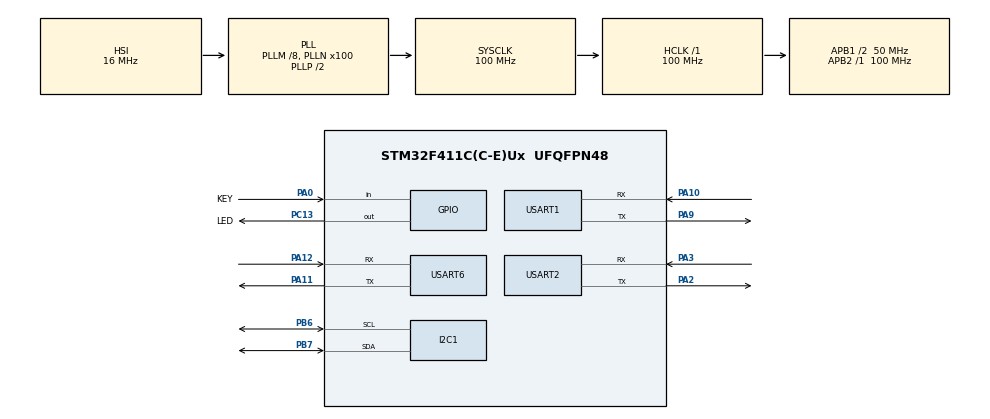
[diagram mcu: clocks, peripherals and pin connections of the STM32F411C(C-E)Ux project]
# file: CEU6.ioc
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Dma.Request0=USART2_RX
Dma.Request1=USART1_RX
Dma.Request2=USART6_RX
Dma.USART1_RX.1.Direction=DMA_PERIPH_TO_MEMORY
Dma.USART1_RX.1.FIFOMode=DMA_FIFOMODE_DISABLE
Dma.USART1_RX.1.Instance=DMA2_Stream2
Dma.USART1_RX.1.MemDataAlignment=DMA_MDATAALIGN_BYTE
Dma.USART1_RX.1.MemInc=DMA_MINC_ENABLE
Dma.USART1_RX.1.Mode=DMA_NORMAL
Dma.USART1_RX.1.PeriphDataAlignment=DMA_PDATAALIGN_BYTE
Dma.USART1_RX.1.PeriphInc=DMA_PINC_DISABLE
Dma.USART1_RX.1.Priority=DMA_PRIORITY_LOW
Dma.USART2_RX.0.Direction=DMA_PERIPH_TO_MEMORY
Dma.USART2_RX.0.FIFOMode=DMA_FIFOMODE_DISABLE
Dma.USART2_RX.0.Instance=DMA1_Stream5
Dma.USART2_RX.0.MemDataAlignment=DMA_MDATAALIGN_BYTE
Dma.USART2_RX.0.MemInc=DMA_MINC_ENABLE
Dma.USART2_RX.0.Mode=DMA_CIRCULAR
Dma.USART2_RX.0.PeriphDataAlignment=DMA_PDATAALIGN_BYTE
Dma.USART2_RX.0.PeriphInc=DMA_PINC_DISABLE
Dma.USART2_RX.0.Priority=DMA_PRIORITY_LOW
Dma.USART6_RX.2.Direction=DMA_PERIPH_TO_MEMORY
Dma.USART6_RX.2.FIFOMode=DMA_FIFOMODE_DISABLE
Dma.USART6_RX.2.Instance=DMA2_Stream1
Dma.USART6_RX.2.MemDataAlignment=DMA_MDATAALIGN_BYTE
Dma.USART6_RX.2.MemInc=DMA_MINC_ENABLE
Dma.USART6_RX.2.Mode=DMA_CIRCULAR
Dma.USART6_RX.2.PeriphDataAlignment=DMA_PDATAALIGN_BYTE
Dma.USART6_RX.2.PeriphInc=DMA_PINC_DISABLE
Dma.USART6_RX.2.Priority=DMA_PRIORITY_LOW
Mcu.Family=STM32F4
Mcu.Name=STM32F411C(C-E)Ux
Mcu.Package=UFQFPN48
NVIC.DMA1_Stream5_IRQn=true\:0\:0\:false\:false\:true\:false\:true
NVIC.DMA2_Stream1_IRQn=true\:0\:0\:false\:false\:true\:false\:true
NVIC.DMA2_Stream2_IRQn=true\:0\:0\:false\:false\:true\:false\:true
NVIC.PriorityGroup=NVIC_PRIORITYGROUP_4
NVIC.USART1_IRQn=true\:1\:0\:true\:false\:true\:true\:true
NVIC.USART2_IRQn=true\:1\:0\:true\:false\:true\:true\:true
NVIC.USART6_IRQn=true\:0\:0\:false\:false\:true\:true\:true
PA0-WKUP.GPIO_Label=KEY
PA0-WKUP.GPIO_PuPd=GPIO_PULLUP
PA0-WKUP.Signal=GPIO_Input
PA10.GPIO_PuPd=GPIO_PULLUP
PA10.Mode=Asynchronous
PA10.Signal=USART1_RX
PA11.Mode=Asynchronous
PA11.Signal=USART6_TX
PA12.GPIO_PuPd=GPIO_PULLUP
PA12.Mode=Asynchronous
PA12.Signal=USART6_RX
PA13.Mode=Serial_Wire
PA13.Signal=SYS_JTMS-SWDIO
PA14.Mode=Serial_Wire
PA14.Signal=SYS_JTCK-SWCLK
PA2.Mode=Asynchronous
PA2.Signal=USART2_TX
PA3.GPIO_PuPd=GPIO_PULLUP
PA3.Mode=Asynchronous
PA3.Signal=USART2_RX
PA9.Mode=Asynchronous
PA9.Signal=USART1_TX
PB6.Mode=I2C
PB6.Signal=I2C1_SCL
PB7.Mode=I2C
PB7.Signal=I2C1_SDA
PC13-ANTI_TAMP.GPIO_Label=LED
PC13-ANTI_TAMP.GPIO_PuPd=GPIO_PULLUP
PC13-ANTI_TAMP.PinState=GPIO_PIN_SET
PC13-ANTI_TAMP.Signal=GPIO_Output
PC14-OSC32_IN.Mode=LSE-External-Oscillator
PC14-OSC32_IN.Signal=RCC_OSC32_IN
PC15-OSC32_OUT.Mode=LSE-External-Oscillator
PC15-OSC32_OUT.Signal=RCC_OSC32_OUT
PH0\ -\ OSC_IN.Mode=HSE-External-Oscillator
PH0\ -\ OSC_IN.Signal=RCC_OSC_IN
PH1\ -\ OSC_OUT.Mode=HSE-External-Oscillator
PH1\ -\ OSC_OUT.Signal=RCC_OSC_OUT
ProjectManager.HeapSize=0x200
ProjectManager.StackSize=0x400
ProjectManager.TargetToolchain=MDK-ARM V5.32
RCC.48MHZClocksFreq_Value=50000000
RCC.AHBFreq_Value=100000000
RCC.APB1CLKDivider=RCC_HCLK_DIV2
RCC.APB1Freq_Value=50000000
RCC.APB1TimFreq_Value=100000000
RCC.APB2Freq_Value=100000000
RCC.APB2TimFreq_Value=100000000
RCC.CortexFreq_Value=100000000
RCC.HCLKFreq_Value=100000000
RCC.HSE_VALUE=25000000
RCC.HSI_VALUE=16000000
RCC.PLLM=8
RCC.PLLN=100
RCC.SYSCLKFreq_VALUE=100000000
RCC.SYSCLKSource=RCC_SYSCLKSOURCE_PLLCLK
RCC.VCOOutputFreq_Value=200000000
USART1.VirtualMode=VM_ASYNC
USART2.VirtualMode=VM_ASYNC
USART6.VirtualMode=VM_ASYNC
board=custom

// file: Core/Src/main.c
/* USER CODE BEGIN Header */
/**
  ******************************************************************************
  * @file           : main.c
  * @brief          : Main program body
  ******************************************************************************
  * @attention
  *
  * Copyright (c) 2022 STMicroelectronics.
  * All rights reserved.
  *
  * This software is licensed under terms that can be found in the LICENSE file
  * in the root directory of this software component.
  * If no LICENSE file comes with this software, it is provided AS-IS.
  *
  ******************************************************************************
  */
/* USER CODE END Header */
#include "main.h"
#include "dma.h"
#include "i2c.h"
#include "usart.h"
#include "gpio.h"

/* USER CODE BEGIN Includes */
#include "sys.h"
#include "oled.h"
#include "esp01s.h"
#include "jansson.h"
/* USER CODE END Includes */

/* USER CODE BEGIN PV */
extern uint8_t usart1_rx_flag;          //接收中断标志位
extern uint8_t usart2_rx_flag;          //接收中断标志位
extern uint8_t usart6_rx_flag;          //接收中断标志位

extern uint8_t tx2_buff[255];
extern uint8_t tx6_buff[255];

extern uint8_t rx1_buff[255];
extern uint8_t rx2_buff[255];
extern uint8_t rx6_buff[255];

//json解析与数据
json_error_t error;
json_t *root;
char *result;
uint16_t temp[2] = {0,0},humi[2] = {0,0},lux[2] = {0,0};
uint16_t tempv = 60,humiv = 60,luxv = 100;
/* USER CODE END PV */

void SystemClock_Config(void);

int main(void)
{
  /* USER CODE BEGIN 1 */
	uint16_t index = 0;
	char data[128];
	uint8_t mode = 0,nc1 = 0,nc2 = 0,nc3 = 0;
  /* USER CODE END 1 */

  /* MCU Configuration--------------------------------------------------------*/

  /* Reset of all peripherals, Initializes the Flash interface and the Systick. */
  HAL_Init();

  /* Configure the system clock */
  SystemClock_Config();

  /* Initialize all configured peripherals */
  MX_GPIO_Init();
  MX_DMA_Init();
  MX_USART1_UART_Init();
  MX_USART2_UART_Init();
  MX_I2C1_Init();
  MX_USART6_UART_Init();
  /* USER CODE BEGIN 2 */
	delay_init(100);
	MU_USART_init();
	OLED_Init();

	LED1,OLED_ShowString(0, 0, "MQTT Disconnect", 16);
	NBiot_Init();      //NBIOT初始化
	LED0,OLED_ShowString(0, 0, "MQTT Connect   ", 16);
	Sub_MQTT("soft");
	delay_ms(1000);
	printf("init ok\r\n");

  /* USER CODE END 2 */

  /* Infinite loop */
  /* USER CODE BEGIN WHILE */
  while (1)
  {
		delay_ms(10);
		if(usart2_rx_flag == 1)
		{
			usart2_rx_flag = 0;
			if		 (strstr((char*)rx2_buff, "mode0"))mode = 0;
			else if(strstr((char*)rx2_buff, "mode1"))mode = 1;
			else if(strstr((char*)rx2_buff, "nc10"))nc1 = 0;
			else if(strstr((char*)rx2_buff, "nc11"))nc1 = 1;
			else if(strstr((char*)rx2_buff, "nc20"))nc2 = 0;
			else if(strstr((char*)rx2_buff, "nc21"))nc2 = 1;
			else if(strstr((char*)rx2_buff, "nc30"))nc3 = 0;
			else if(strstr((char*)rx2_buff, "nc31"))nc3 = 1;
			else if(strstr((char*)rx2_buff, "envi"))nc3 = 1;
			{
				result = strstr((char*)rx2_buff, "{");
				printf("%s",result);
				root = json_loads(result, 0, &error);
				if(json_is_object(root))
				{
					//解析软件端阈值控制信息
					tempv = json_integer_value(json_object_get(root, "tempv"));
					humiv = json_integer_value(json_object_get(root, "humiv"));
					luxv  = json_integer_value(json_object_get(root, "luxv"));
					printf("id= %d,templ = %d,temph = %d\r\n",tempv,humiv,luxv);
				}else printf("root format error:%d-%s\r\n", error.line, error.text);
				json_delete(root);
			}
			memset(rx2_buff,0,sizeof(rx2_buff));
		}

		if(usart6_rx_flag == 1)
		{
			usart6_rx_flag = 0;
			printf("%s\r\n",rx6_buff);
			if(strstr((char*)rx6_buff, "node1"))
			{
				result = strstr((char*)rx6_buff, "{");
				printf("%s",result);
				root = json_loads(result, 0, &error);
				if(json_is_object(root))
				{
					//解析软件端阈值控制信息
					temp[0] = json_integer_value(json_object_get(root, "temp"));
					humi[0] = json_integer_value(json_object_get(root, "humi"));
					lux [0]  = json_integer_value(json_object_get(root, "lux"));
					printf("node1:temp= %d,humi = %d,lux = %d\r\n",temp[0],humi[0],lux[0]);
				}else printf("root format error:%d-%s\r\n", error.line, error.text);
				json_delete(root);
			}else if(strstr((char*)rx6_buff, "node2"))
			{
				result = strstr((char*)rx6_buff, "{");
				printf("%s",result);
				root = json_loads(result, 0, &error);
				if(json_is_object(root))
				{
					//解析软件端阈值控制信息
					temp[1] = json_integer_value(json_object_get(root, "temp"));
					humi[1] = json_integer_value(json_object_get(root, "humi"));
					lux [1] = json_integer_value(json_object_get(root, "lux"));
					printf("node2:temp= %d,humi = %d,lux = %d\r\n",temp[1],humi[1],lux[1]);
				}else printf("root format error:%d-%s\r\n", error.line, error.text);
				json_delete(root);
			}
			memset(rx6_buff,0,sizeof(rx6_buff));
		}
		//1秒更新一次OLED数据与阈值控制信息
		if(index % 100 == 0)
		{
			sprintf(data,"T:%d H:%d L:%d ",temp[0],humi[0],lux[0]);
			OLED_ShowString(0,0,data,16);
			memset(data,0,sizeof(data));
			delay_ms(20);
			sprintf(data,"T:%d H:%d L:%d ",temp[1],humi[1],lux[1]);
			OLED_ShowString(0,2,data,16);
			memset(data,0,sizeof(data));
			sprintf(data,"M:%d  ",mode);
			OLED_ShowString(0,4,data,16);
			memset(data,0,sizeof(data));
			sprintf(data,"N1:%d N2:%d N3:%d ",nc1,nc2,nc3);
			OLED_ShowString(0,6,data,16);
			memset(data,0,sizeof(data));
			if(mode == 1)
			{
				if((temp[0]>tempv)||(temp[1]>tempv))nc1 = 1;
				else nc1 = 0;
				if((humi[0]>humiv)||(humi[1]>humiv))nc2 = 1;
				else nc2 = 0;
				if((lux[0]>luxv)||(lux[1]>luxv))		nc3 = 1;
				else nc3 = 0;
			}
			u6_printf("nc1%d\r\n",nc1);
			delay_ms(100);
			u6_printf("nc2%d\r\n",nc2);
			delay_ms(100);
			u6_printf("nc3%d\r\n",nc3);
			delay_ms(100);
		}
		//4秒上传一次数据
		if(index %400 == 0)
		{
			index = 0;
			//打包JSON数据，通过ESP01S模块发送出去
			root = json_pack("{sisisi}","temp1",temp[0],"humi1",humi[0],"lux1",lux[0]);
			result = json_dumps(root,JSON_PRESERVE_ORDER);
			json_delete(root);
			Pub_MQTT("hard",result);
			delay_ms(100);
			root = json_pack("{sisisi}","temp2",temp[1],"humi2",humi[1],"lux2",lux[1]);
			result = json_dumps(root,JSON_PRESERVE_ORDER);
			json_delete(root);
			Pub_MQTT("hard",result);
			delay_ms(100);
		}index ++;

    /* USER CODE END WHILE */

  }
}

void SystemClock_Config(void)
{
  RCC_OscInitTypeDef RCC_OscInitStruct = {0};
  RCC_ClkInitTypeDef RCC_ClkInitStruct = {0};

  /** Configure the main internal regulator output voltage
  */
  __HAL_RCC_PWR_CLK_ENABLE();
  __HAL_PWR_VOLTAGESCALING_CONFIG(PWR_REGULATOR_VOLTAGE_SCALE1);
  /** Initializes the RCC Oscillators according to the specified parameters
  * in the RCC_OscInitTypeDef structure.
  */
  RCC_OscInitStruct.OscillatorType = RCC_OSCILLATORTYPE_HSI;
  RCC_OscInitStruct.HSIState = RCC_HSI_ON;
  RCC_OscInitStruct.HSICalibrationValue = RCC_HSICALIBRATION_DEFAULT;
  RCC_OscInitStruct.PLL.PLLState = RCC_PLL_ON;
  RCC_OscInitStruct.PLL.PLLSource = RCC_PLLSOURCE_HSI;
  RCC_OscInitStruct.PLL.PLLM = 8;
  RCC_OscInitStruct.PLL.PLLN = 100;
  RCC_OscInitStruct.PLL.PLLP = RCC_PLLP_DIV2;
  RCC_OscInitStruct.PLL.PLLQ = 4;
  if (HAL_RCC_OscConfig(&RCC_OscInitStruct) != HAL_OK)
  {
    Error_Handler();
  }
  /** Initializes the CPU, AHB and APB buses clocks
  */
  RCC_ClkInitStruct.ClockType = RCC_CLOCKTYPE_HCLK|RCC_CLOCKTYPE_SYSCLK
                              |RCC_CLOCKTYPE_PCLK1|RCC_CLOCKTYPE_PCLK2;
  RCC_ClkInitStruct.SYSCLKSource = RCC_SYSCLKSOURCE_PLLCLK;
  RCC_ClkInitStruct.AHBCLKDivider = RCC_SYSCLK_DIV1;
  RCC_ClkInitStruct.APB1CLKDivider = RCC_HCLK_DIV2;
  RCC_ClkInitStruct.APB2CLKDivider = RCC_HCLK_DIV1;

  if (HAL_RCC_ClockConfig(&RCC_ClkInitStruct, FLASH_LATENCY_3) != HAL_OK)
  {
    Error_Handler();
  }
}

void Error_Handler(void)
{
  __disable_irq();
  while (1)
  {
  }
}
